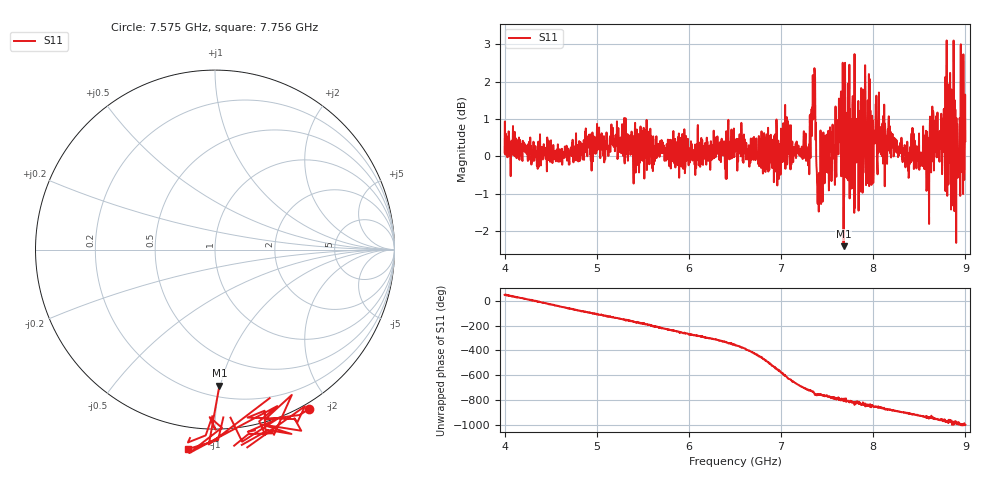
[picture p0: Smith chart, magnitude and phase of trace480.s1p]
! Created with skrf 1.8.0 (http://scikit-rf.org).
# Hz S RI R 50.0
!freq ReS11 ImS11
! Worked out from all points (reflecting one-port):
!   1601 points, 4 GHz to 9 GHz, reference 50 ohm
!   lowest |S11| = -2.4 dB at 7.678 GHz (marker M1), VSWR 7.28, Z = 13.9 - j49.7 ohm
!   phase of S11 starts at 48 deg and turns -1051 deg over the sweep
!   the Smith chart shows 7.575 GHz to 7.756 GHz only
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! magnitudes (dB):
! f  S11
! 4 GHz  0.1
! 4.625 GHz  -0.2
! 5.25 GHz  0.3
! 5.875 GHz  0.2
! 6.5 GHz  0.2
! 7.125 GHz  0.1
! 7.294 GHz  -0.2
! 7.347 GHz  1.4
! 7.412 GHz  -0.4
! 7.478 GHz  0.4
! 7.575 GHz  0.3
! 7.65 GHz  1.7
! 7.678 GHz  -2.4
! 7.75 GHz  -0.6
! 7.769 GHz  -0.9
! 7.872 GHz  -0.1
! 7.928 GHz  0.7
! 7.981 GHz  -0.8
! 8.047 GHz  -0.5
! 8.375 GHz  0.0
! 8.438 GHz  0.6
! 8.603 GHz  -0.4
! 8.656 GHz  0.7
! 8.766 GHz  1.3
! 8.816 GHz  -0.8
! 8.919 GHz  -0.2
! 8.959 GHz  1.9
! 9 GHz  0.4
